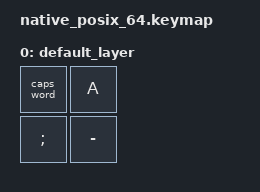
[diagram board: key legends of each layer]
#include <dt-bindings/zmk/keys.h>
#include <behaviors.dtsi>
#include <dt-bindings/zmk/kscan_mock.h>
#include "../behavior_keymap.dtsi"

&caps_word {
	continue-list = <UNDERSCORE BACKSPACE DELETE SEMI>;
	also-mod-list = <SEMI>;
};

/ {
	keymap {
		compatible = "zmk,keymap";
		label = "Default keymap";

		default_layer {
			bindings = <
				&caps_word &kp A
				&kp SEMI &kp MINUS
			>;
		};
	};
};

&kscan {
	events = <
	ZMK_MOCK_PRESS(0,0,10)
	ZMK_MOCK_RELEASE(0,0,10)
	ZMK_MOCK_PRESS(0,1,10)
	ZMK_MOCK_RELEASE(0,1,10)
	ZMK_MOCK_PRESS(1,0,10)
	ZMK_MOCK_RELEASE(1,0,10)
	ZMK_MOCK_PRESS(0,1,10)
	ZMK_MOCK_RELEASE(0,1,10)
	>;
};
